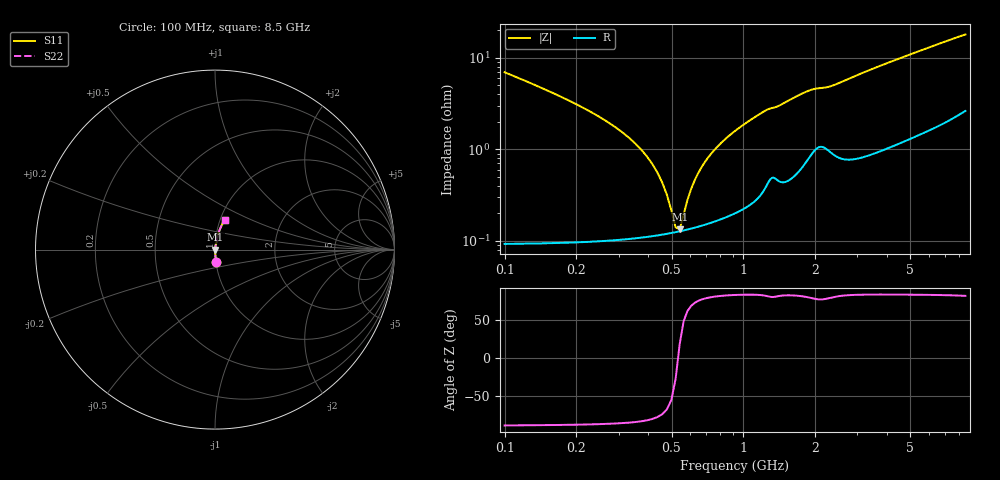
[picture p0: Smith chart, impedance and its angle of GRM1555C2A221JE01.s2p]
!Murata Part Number: GRM1555C2A221JE01
!These Parameters are Measured in Series Mode Connection
!Data Generated on Mar 30, 2021
!  o--ll--o
!Port1  Port2
!  o------o
!Operation Temp=25[degC], DC Bias Voltage=0[V]
!Freq. Start=100[MHz] Stop=9[GHz] 401[Steps]
# Hz S RI R 50
!Freq.(Hz) S11(Real) S11(Imag) S21(Real) S21(Imag) S12(Real) S12(Imag) S22(Real) S22(Imag)
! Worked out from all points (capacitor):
!   401 points, 100 MHz to 8.5 GHz, reference 50 ohm
!   read as one part in series: C = 220 pF near 142 MHz
!   lowest |Z| = 133 mohm at 541 MHz (marker M1)
!   series resonance near 532.8 MHz, so ESL is about 410 pH
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1e8  0.00576 -0.0693  0.9942 0.0693  0.9942 0.0693  0.00576 -0.0693
3.73e8  0.00118 -0.00987  0.9988 0.00987  0.9988 0.00987  0.00118 -0.00987
4.36e8  0.00117 -0.00547  0.9988 0.00547  0.9988 0.00547  0.00117 -0.00547
4.99e8  0.00122 -0.00177  0.9988 0.00177  0.9988 0.00177  0.00122 -0.00177
5.2e8  0.00124 -0.000656  0.9988 0.000656  0.9988 0.000656  0.00124 -0.000656
5.41e8  0.00127 0.000418  0.9987 -0.000418  0.9987 -0.000418  0.00127 0.000418
5.62e8  0.0013 0.00145  0.9987 -0.00145  0.9987 -0.00145  0.0013 0.00145
6.25e8  0.00141 0.00435  0.9986 -0.00435  0.9986 -0.00435  0.00141 0.00435
6.67e8  0.00149 0.00615  0.9985 -0.00615  0.9985 -0.00615  0.00149 0.00615
7.3e8  0.00164 0.0087  0.9984 -0.0087  0.9984 -0.0087  0.00164 0.0087
8.14e8  0.00187 0.0119  0.9981 -0.0119  0.9981 -0.0119  0.00187 0.0119
9.4e8  0.0023 0.0163  0.9977 -0.0163  0.9977 -0.0163  0.0023 0.0163
1.129e9  0.00329 0.0227  0.9967 -0.0227  0.9967 -0.0227  0.00329 0.0227
1.255e9  0.00478 0.0266  0.9952 -0.0266  0.9952 -0.0266  0.00478 0.0266
1.507e9  0.00546 0.0324  0.9945 -0.0324  0.9945 -0.0324  0.00546 0.0324
1.906e9  0.0102 0.0429  0.9898 -0.0429  0.9898 -0.0429  0.0102 0.0429
2.305e9  0.0115 0.0469  0.9885 -0.0469  0.9885 -0.0469  0.0115 0.0469
2.914e9  0.0115 0.0613  0.9885 -0.0613  0.9885 -0.0613  0.0115 0.0613
4.3e9  0.0194 0.0911  0.9806 -0.0911  0.9806 -0.0911  0.0194 0.0911
5.707e9  0.0294 0.1183  0.9706 -0.1183  0.9706 -0.1183  0.0294 0.1183
7.114e9  0.0411 0.1433  0.9589 -0.1433  0.9589 -0.1433  0.0411 0.1433
8.5e9  0.0544 0.1649  0.9456 -0.1649  0.9456 -0.1649  0.0544 0.1649
